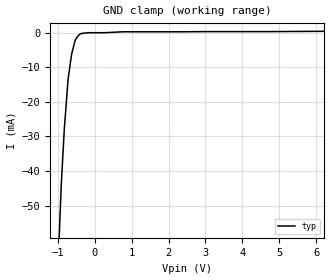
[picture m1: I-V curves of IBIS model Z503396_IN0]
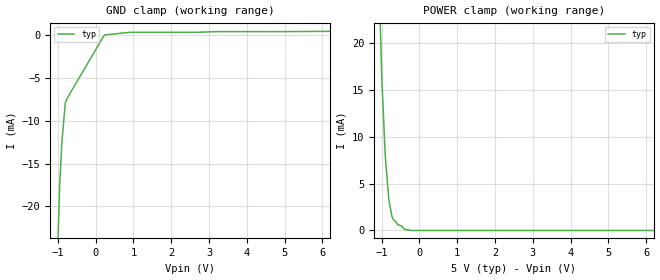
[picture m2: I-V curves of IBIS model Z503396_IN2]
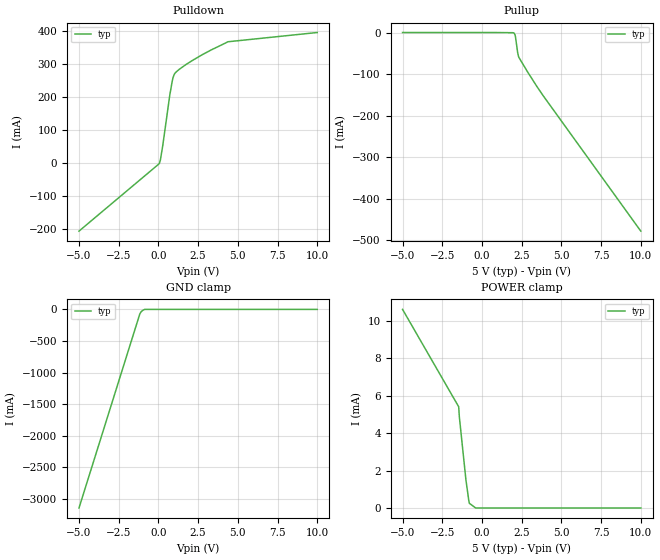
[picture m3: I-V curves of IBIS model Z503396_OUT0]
| YOU ARE ONLY AUTHORIZED TO USE THIS SOFTWARE
| ACCORDING TO LICENSOR'S LICENSE RESTRICTIONS.
[IBIS Ver] 3.1
[File Name] mc100h644fn_pecl.ibs
[File Rev] 2.0
[Source] Measured and created by ICX Technology
[Date] Friday 7/14/00 9:07:48 AM
[Copyright]
| (C) COPYRIGHT 1993-2000
| MENTOR GRAPHICS CORPORATION
| ICX STANDARD LIBRARY, ICX PROJECT MODELING,
| ICX CUSTOM MODELING, ICX VENDOR MODEL
| ALL RIGHTS RESERVED.
| THE FOLLOWING ARE TRADEMARKS OR SERVICE MARKS OF
| MENTOR GRAPHICS CORPORATION:ICX (R), ICX STANDARD
| LIBRARY(R), ICX PROJECT MODELING(R), ICX CUSTOM
| MODELING(R), qualityIBIS(TM), MODELVIEWER(TM),
| AND MODELEDITOR(TM)
| ALL COPIES OF SOFTWARE, INCLUDING BUT NOT LIMITED TO
| ANY MODIFICATIONS, ENHANCEMENTS OR DERIVATIVE WORKS,
| MUST CONTAIN ALL MENTOR GRAPHICS CORPORATION'S
| NOTICES AND LEGENDS, INCLUDING THOSE EMBEDDED IN
| SOFTWARE AND THOSE AFFIXED TO SOFTWARE MEDIUM
| AND CONTAINER, AS RECEIVED FROM MENTOR GRAPHICS
| CORPORATION.
|  ZAP Model Builder 2.7
[Component] MC100H644FN_PECL
[Manufacturer] OnSemiconductor
[Package]
| variable   typ   min   max
R_pkg  .078ohms NA NA
L_pkg  3.58nH NA NA
C_pkg  .884pF NA NA
[Pin] signal_name  model_name  R_pin  L_pin C_pin
1 GROUND GND .076 3.3n .8p
2 _Q2 Z503396_OUT1 .078 3.5n .87p
3 GROUND GND .08 3.8n .94p
4 Q1 Z503396_OUT0 .08 3.8n .94p
5 VCC POWER .078 3.5n .87p
6 Q0 Z503396_OUT0 .076 3.3n .8p
7 SEL Z503396_IN0 .078 3.5n .87p
8 DT Z503396_IN1 .08 3.8n .94p
9 GROUND GND .08 3.8n .94p
10 _DE Z503396_IN2 .078 3.5n .87p
11 VBB POWER .076 3.3n .8p
12 DE Z503396_IN2 .078 3.5n .87p
13 VEE POWER .08 3.8n .94p
14 _R Z503396_IN3 .08 3.8n .94p
15 GROUND GND .078 3.5n .87p
16 Q5 Z503396_OUT0 .076 3.3n .8p
17 VCC POWER .078 3.5n .87p
18 Q4 Z503396_OUT0 .08 3.8n .94p
19 GROUND GND .08 3.8n .94p
20 _Q3 Z503396_OUT1 .078 3.5n .87p
| Models and submodels in the file (6): Z503396_IN0 (Input), Z503396_IN1 (Input), Z503396_IN2 (Input), Z503396_IN3 (Input), Z503396_OUT0 (Output), Z503396_OUT1 (Output)
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| (C) COPYRIGHT 1993-2000
| MENTOR GRAPHICS CORPORATION
| ICX STANDARD LIBRARY, ICX PROJECT MODELING,
| ICX CUSTOM MODELING, ICX VENDOR MODEL
| ALL RIGHTS RESERVED.
| THE FOLLOWING ARE TRADEMARKS OR SERVICE MARKS OF
| MENTOR GRAPHICS CORPORATION:ICX (R), ICX STANDARD
| LIBRARY(R), ICX PROJECT MODELING(R), ICX CUSTOM
| MODELING(R), qualityIBIS(TM), MODELVIEWER(TM),
| AND MODELEDITOR(TM)
| ALL COPIES OF SOFTWARE, INCLUDING BUT NOT LIMITED TO
| ANY MODIFICATIONS, ENHANCEMENTS OR DERIVATIVE WORKS,
| MUST CONTAIN ALL MENTOR GRAPHICS CORPORATION'S
| NOTICES AND LEGENDS, INCLUDING THOSE EMBEDDED IN
| SOFTWARE AND THOSE AFFIXED TO SOFTWARE MEDIUM
| AND CONTAINER, AS RECEIVED FROM MENTOR GRAPHICS
| CORPORATION.
| Model Application Version 1.89 2/18/99.
[Model] Z503396_IN0
Model_type Input
Vinl = 800.0mV
Vinh = 2.000V
C_comp 4.000pF NA NA
| variable typ   min   max
[Voltage Range] 5.000V NA NA
[GND Clamp Reference] 0.000V NA NA
[POWER Clamp Reference] 5.000V NA NA
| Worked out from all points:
|   GND clamp passes 1 mA (typ) near -0.45 V on its own axis
[GND Clamp]
-5V       -1.48A     NA         NA
-1.118V   -102.3mA   NA         NA
-902.7mV  -44mA      NA         NA
-819.8mV  -27.78mA   NA         NA
-717.6mV  -13.48mA   NA         NA
-622.5mV  -6.247mA   NA         NA
-529.1mV  -2.336mA   NA         NA
-468.6mV  -1.192mA   NA         NA
-390.6mV  -411.1uA   NA         NA
-175.8mV  -56.26uA   NA         NA
767.4mV   210.9uA    NA         NA
10V       580.1uA    NA         NA
[POWER Clamp]
-5V       0A         NA         NA
10V       0A         NA         NA
| (C) COPYRIGHT 1993-2000
| MENTOR GRAPHICS CORPORATION
| ICX STANDARD LIBRARY, ICX PROJECT MODELING,
| ICX CUSTOM MODELING, ICX VENDOR MODEL
| ALL RIGHTS RESERVED.
| THE FOLLOWING ARE TRADEMARKS OR SERVICE MARKS OF
| MENTOR GRAPHICS CORPORATION:ICX (R), ICX STANDARD
| LIBRARY(R), ICX PROJECT MODELING(R), ICX CUSTOM
| MODELING(R), qualityIBIS(TM), MODELVIEWER(TM),
| AND MODELEDITOR(TM)
| ALL COPIES OF SOFTWARE, INCLUDING BUT NOT LIMITED TO
| ANY MODIFICATIONS, ENHANCEMENTS OR DERIVATIVE WORKS,
| MUST CONTAIN ALL MENTOR GRAPHICS CORPORATION'S
| NOTICES AND LEGENDS, INCLUDING THOSE EMBEDDED IN
| SOFTWARE AND THOSE AFFIXED TO SOFTWARE MEDIUM
| AND CONTAINER, AS RECEIVED FROM MENTOR GRAPHICS
| CORPORATION.
| Model Application Version 1.89 2/18/99.
[Model] Z503396_IN2
Model_type Input
Vinl = 3.525V
Vinh = 3.835V
C_comp 4.000pF NA NA
| variable typ   min   max
[Voltage Range] 5.000V NA NA
[GND Clamp Reference] 0.000V NA NA
[POWER Clamp Reference] 5.000V NA NA
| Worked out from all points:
|   POWER clamp passes 1 mA (typ) near -0.64 V on its own axis
[GND Clamp]
-5V       -1.075A    NA         NA
-1.107V   -40.04mA   NA         NA
-951.6mV  -17.55mA   NA         NA
-893.6mV  -12.55mA   NA         NA
-800.8mV  -7.846mA   NA         NA
-720.7mV  -7.144mA   NA         NA
209mV     -171.1uA   NA         NA
247.2mV   2.094uA    NA         NA
923.4mV   305.7uA    NA         NA
10V       524.1uA    NA         NA
[POWER Clamp]
-5V       1.052A     NA         NA
-1.063V   26.08mA    NA         NA
-996mV    16.41mA    NA         NA
-903mV    7.918mA    NA         NA
-810mV    3.34mA     NA         NA
-728mV    1.521mA    NA         NA
-689mV    1.161mA    NA         NA
-575mV    620.4uA    NA         NA
-472mV    492.8uA    NA         NA
-395mV    116.9uA    NA         NA
-197.5mV  0A         NA         NA
10V       0A         NA         NA
| (C) COPYRIGHT 1993-2000
| MENTOR GRAPHICS CORPORATION
| ICX STANDARD LIBRARY, ICX PROJECT MODELING,
| ICX CUSTOM MODELING, ICX VENDOR MODEL
| ALL RIGHTS RESERVED.
| THE FOLLOWING ARE TRADEMARKS OR SERVICE MARKS OF
| MENTOR GRAPHICS CORPORATION:ICX (R), ICX STANDARD
| LIBRARY(R), ICX PROJECT MODELING(R), ICX CUSTOM
| MODELING(R), qualityIBIS(TM), MODELVIEWER(TM),
| AND MODELEDITOR(TM)
| ALL COPIES OF SOFTWARE, INCLUDING BUT NOT LIMITED TO
| ANY MODIFICATIONS, ENHANCEMENTS OR DERIVATIVE WORKS,
| MUST CONTAIN ALL MENTOR GRAPHICS CORPORATION'S
| NOTICES AND LEGENDS, INCLUDING THOSE EMBEDDED IN
| SOFTWARE AND THOSE AFFIXED TO SOFTWARE MEDIUM
| AND CONTAINER, AS RECEIVED FROM MENTOR GRAPHICS
| CORPORATION.
| Model Application Version 1.89 2/18/99.
[Model] Z503396_OUT0
Model_type Output
Vref=0.000V
Rref=500.0ohms
Cref=25.00pF
Vmeas=1.500V
C_comp 8.000pF NA NA
| variable typ   min   max
[Voltage Range] 5.000V NA NA
[POWER Clamp Reference] 5.000V NA NA
[Pullup Reference] 5.000V NA NA
[Pulldown Reference] 0.000V NA NA
[GND Clamp Reference] 0.000V NA NA
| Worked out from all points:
|   slope of the pulldown table from 0 to 0.75 V, typ, clamps not added: 3.42 ohm
|   slope of the pullup table from 0 to 0.75 V, typ, clamps not added: 62 kohm
|   GND clamp passes 1 mA (typ) near -0.87 V on its own axis
|   POWER clamp passes 1 mA (typ) near -0.93 V on its own axis
[GND Clamp]
-5V       -3.142A    NA         NA
-1.171V   -72.91mA   NA         NA
-1.093V   -40.17mA   NA         NA
-1.015V   -21.19mA   NA         NA
-951.7mV  -10.33mA   NA         NA
-865.2mV  0A         NA         NA
10V       0A         NA         NA
[Pulldown]
-5V       -207.2mA   NA         NA
68.32mV   -253.2uA   NA         NA
122.1mV   8.204mA    NA         NA
273.4mV   52.4mA     NA         NA
718mV     206.4mA    NA         NA
872.9mV   249.1mA    NA         NA
923.7mV   259.4mA    NA         NA
991.4mV   268.6mA    NA         NA
1.334V    285.3mA    NA         NA
2.744V    328.5mA    NA         NA
4.375V    368.3mA    NA         NA
10V       396.4mA    NA         NA
[Pullup]
-5V       340.1uA    NA         NA
2.021V    -1.085mA   NA         NA
2.075V    -4.596mA   NA         NA
2.109V    -9.545mA   NA         NA
2.246V    -47.54mA   NA         NA
2.295V    -56.38mA   NA         NA
2.334V    -60.12mA   NA         NA
3.472V    -130.3mA   NA         NA
10V       -477.5mA   NA         NA
[POWER Clamp]
-5V       10.62mA    NA         NA
-1.465V   5.413mA    NA         NA
-1.426V   4.893mA    NA         NA
-1.011V   1.512mA    NA         NA
-830mV    404.2uA    NA         NA
-791mV    249.5uA    NA         NA
-395.5mV  0A         NA         NA
10V       0A         NA         NA
[Ramp]
| variable typ min max
dV/dt_r 1.708/1.308n NA NA
dV/dt_f 1.708/1.155n NA NA
R_load = 500.0Ohms
